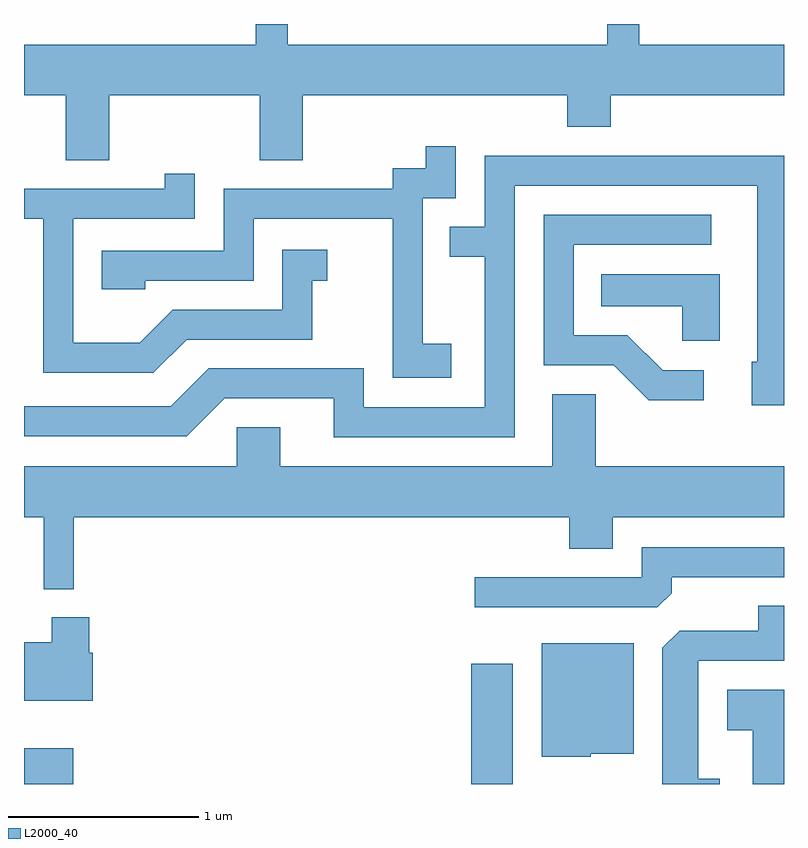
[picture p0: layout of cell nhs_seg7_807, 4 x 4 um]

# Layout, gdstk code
import gdstk
lib = gdstk.Library(unit=1e-6, precision=1e-09)
def R(c, l, rs):  # rectangles x0, y0, x1, y1
    for r in rs: c.add(gdstk.rectangle(r[:2], r[2:], *l))
def P(c, l, *ps):  # polygons
    for p in ps: c.add(gdstk.Polygon(p, *l))
L2000_40 = (2000, 40)

nhs_seg7_807 = lib.new_cell('nhs_seg7_807')
R(nhs_seg7_807, L2000_40, [(209.611,1706.252,209.869,1706.439), (211.966,1706.252,212.184,1706.884)])
P(nhs_seg7_807, L2000_40, [(210.059,1709.876),(210.851,1709.876),(210.851,1709.536),(211.079,1709.536),(211.079,1709.876),(212.471,1709.876),(212.471,1709.711),(212.699,1709.711),(212.699,1709.876),(213.611,1709.876),(213.611,1710.144),(212.849,1710.144),(212.849,1710.252),(212.681,1710.252),(212.681,1710.144),(210.999,1710.144),(210.999,1710.252),(210.831,1710.252),(210.831,1710.144),(209.611,1710.144),(209.611,1709.876),(209.831,1709.876),(209.831,1709.536),(210.059,1709.536)],
  [(211.859,1708.569),(211.709,1708.569),(211.709,1709.336),(211.884,1709.336),(211.884,1709.608),(211.726,1709.608),(211.726,1709.494),(211.551,1709.494),(211.551,1709.384),(210.661,1709.384),(210.661,1709.059),(210.021,1709.059),(210.021,1708.856),(210.249,1708.856),(210.249,1708.901),(210.819,1708.901),(210.819,1709.226),(211.551,1709.226),(211.551,1708.391),(211.859,1708.391)],
  [(212.194,1709.401),(213.471,1709.401),(213.471,1708.474),(213.441,1708.474),(213.441,1708.246),(213.611,1708.246),(213.611,1709.559),(212.036,1709.559),(212.036,1709.184),(211.853,1709.184),(211.853,1709.026),(212.036,1709.026),(212.036,1708.234),(211.399,1708.234),(211.399,1708.439),(210.584,1708.439),(210.384,1708.239),(209.611,1708.239),(209.611,1708.081),(210.467,1708.081),(210.667,1708.281),(211.241,1708.281),(211.241,1708.076),(212.194,1708.076)],
  [(210.467,1708.591),(211.129,1708.591),(211.129,1708.901),(211.208,1708.901),(211.208,1709.064),(210.971,1709.064),(210.971,1708.749),(210.394,1708.749),(210.219,1708.574),(209.869,1708.574),(209.869,1709.226),(210.509,1709.226),(210.509,1709.463),(210.351,1709.463),(210.351,1709.384),(209.611,1709.384),(209.611,1709.226),(209.711,1709.226),(209.711,1708.416),(210.292,1708.416)],
  [(213.188,1708.429),(212.972,1708.429),(212.787,1708.614),(212.504,1708.614),(212.504,1709.091),(213.228,1709.091),(213.228,1709.249),(212.346,1709.249),(212.346,1708.456),(212.714,1708.456),(212.899,1708.271),(213.188,1708.271)],
  [(213.274,1708.934),(212.648,1708.934),(212.648,1708.766),(213.076,1708.766),(213.076,1708.586),(213.274,1708.586)],
  [(209.874,1707.656),(212.481,1707.656),(212.481,1707.491),(212.709,1707.491),(212.709,1707.656),(213.611,1707.656),(213.611,1707.924),(212.619,1707.924),(212.619,1708.304),(212.391,1708.304),(212.391,1707.924),(210.959,1707.924),(210.959,1708.129),(210.731,1708.129),(210.731,1707.924),(209.611,1707.924),(209.611,1707.656),(209.716,1707.656),(209.716,1707.278),(209.874,1707.278)],
  [(213.019,1707.257),(213.019,1707.341),(213.611,1707.341),(213.611,1707.499),(212.861,1707.499),(212.861,1707.339),(211.983,1707.339),(211.983,1707.181),(212.944,1707.181)],
  [(213.274,1706.279),(213.159,1706.279),(213.159,1706.901),(213.611,1706.901),(213.611,1707.189),(213.476,1707.189),(213.476,1707.059),(213.062,1707.059),(212.971,1706.969),(212.971,1706.252),(213.274,1706.252)],
  [(209.974,1706.944),(209.954,1706.944),(209.954,1707.129),(209.756,1707.129),(209.756,1706.999),(209.611,1706.999),(209.611,1706.691),(209.974,1706.691)],
  [(212.595,1706.411),(212.819,1706.411),(212.819,1706.994),(212.336,1706.994),(212.336,1706.396),(212.595,1706.396)],
  [(213.611,1706.749),(213.311,1706.749),(213.311,1706.536),(213.446,1706.536),(213.446,1706.252),(213.611,1706.252)])

lib.write_gds('nhs_seg7_807.gds')
